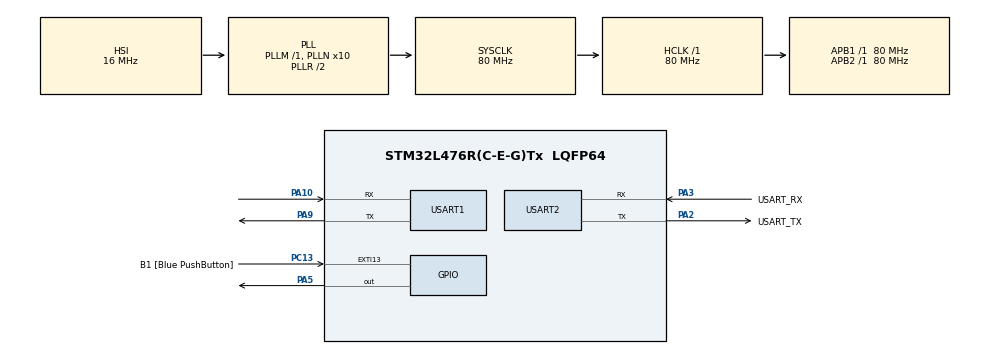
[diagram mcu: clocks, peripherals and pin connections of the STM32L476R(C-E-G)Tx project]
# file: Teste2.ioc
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FREERTOS.Tasks01=defaultTask,0,128,StartDefaultTask,Default,NULL,Dynamic,NULL,NULL
FREERTOS.configUSE_NEWLIB_REENTRANT=1
Mcu.Family=STM32L4
Mcu.Name=STM32L476R(C-E-G)Tx
Mcu.Package=LQFP64
NVIC.PriorityGroup=NVIC_PRIORITYGROUP_4
NVIC.TIM1_UP_TIM16_IRQn=true\:5\:0\:false\:false\:true\:true\:false\:true
NVIC.TIM3_IRQn=true\:5\:0\:false\:false\:true\:true\:true\:true
NVIC.TimeBase=TIM1_UP_TIM16_IRQn
NVIC.TimeBaseIP=TIM1
NVIC.USART1_IRQn=true\:5\:0\:false\:false\:true\:true\:true\:true
NVIC.USART2_IRQn=true\:5\:0\:false\:false\:true\:true\:true\:true
PA10.Mode=Asynchronous
PA10.Signal=USART1_RX
PA13\ (JTMS-SWDIO).GPIO_Label=TMS
PA13\ (JTMS-SWDIO).Mode=Serial_Wire
PA13\ (JTMS-SWDIO).Signal=SYS_JTMS-SWDIO
PA14\ (JTCK-SWCLK).GPIO_Label=TCK
PA14\ (JTCK-SWCLK).Mode=Serial_Wire
PA14\ (JTCK-SWCLK).Signal=SYS_JTCK-SWCLK
PA2.GPIO_Label=USART_TX
PA2.GPIO_Mode=GPIO_MODE_AF_PP
PA2.GPIO_PuPd=GPIO_NOPULL
PA2.GPIO_Speed=GPIO_SPEED_FREQ_VERY_HIGH
PA2.Mode=Asynchronous
PA2.Signal=USART2_TX
PA3.GPIO_Label=USART_RX
PA3.GPIO_Mode=GPIO_MODE_AF_PP
PA3.GPIO_PuPd=GPIO_NOPULL
PA3.GPIO_Speed=GPIO_SPEED_FREQ_VERY_HIGH
PA3.Mode=Asynchronous
PA3.Signal=USART2_RX
PA5.Signal=GPIO_Output
PA9.Mode=Asynchronous
PA9.Signal=USART1_TX
PB3\ (JTDO-TRACESWO).GPIO_Label=SWO
PB3\ (JTDO-TRACESWO).Signal=SYS_JTDO-SWO
PC13.GPIO_Label=B1 [Blue PushButton]
PC13.GPIO_ModeDefaultEXTI=GPIO_MODE_IT_FALLING
PC13.GPIO_PuPd=GPIO_NOPULL
PC13.Signal=GPXTI13
PC14-OSC32_IN\ (PC14).Mode=LSE-External-Oscillator
PC14-OSC32_IN\ (PC14).Signal=RCC_OSC32_IN
PC15-OSC32_OUT\ (PC15).Mode=LSE-External-Oscillator
PC15-OSC32_OUT\ (PC15).Signal=RCC_OSC32_OUT
PH0-OSC_IN\ (PH0).Signal=RCC_OSC_IN
PH1-OSC_OUT\ (PH1).Signal=RCC_OSC_OUT
ProjectManager.HeapSize=0x200
ProjectManager.StackSize=0x400
ProjectManager.TargetToolchain=STM32CubeIDE
RCC.ADCFreq_Value=64000000
RCC.AHBFreq_Value=80000000
RCC.APB1Freq_Value=80000000
RCC.APB1TimFreq_Value=80000000
RCC.APB2Freq_Value=80000000
RCC.APB2TimFreq_Value=80000000
RCC.CortexFreq_Value=80000000
RCC.HCLKFreq_Value=80000000
RCC.HSE_VALUE=8000000
RCC.HSI_VALUE=16000000
RCC.MSI_VALUE=4000000
RCC.PLLN=10
RCC.PLLSourceVirtual=RCC_PLLSOURCE_HSI
RCC.PREFETCH_ENABLE=1
RCC.SYSCLKFreq_VALUE=80000000
RCC.SYSCLKSource=RCC_SYSCLKSOURCE_PLLCLK
RCC.USBFreq_Value=64000000
RCC.VCOOutputFreq_Value=160000000
TIM3.Period=10000-1
TIM3.Prescaler=400-1
USART1.VirtualMode-Asynchronous=VM_ASYNC
USART2.VirtualMode-Asynchronous=VM_ASYNC
VP_FREERTOS_VS_CMSIS_V1.Mode=CMSIS_V1
VP_SYS_VS_tim1.Mode=TIM1
VP_TIM3_VS_ClockSourceINT.Mode=Internal
board=NUCLEO-L476RG

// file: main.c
/* USER CODE BEGIN Header */
/**
  ******************************************************************************
  * @file           : main.c
  * @brief          : Main program body
  ******************************************************************************
  * @attention
  *
  * <h2><center>&copy; Copyright (c) 2021 STMicroelectronics.
  * All rights reserved.</center></h2>
  *
  * This software component is licensed by ST under BSD 3-Clause license,
  * the "License"; You may not use this file except in compliance with the
  * License. You may obtain a copy of the License at:
  *                        opensource.org/licenses/BSD-3-Clause
  *
  ******************************************************************************
  */
/* USER CODE END Header */
#include "main.h"
#include "cmsis_os.h"

TIM_HandleTypeDef htim3;

osThreadId defaultTaskHandle;

void SystemClock_Config(void);
static void MX_GPIO_Init(void);
static void MX_USART2_UART_Init(void);
static void MX_USART1_UART_Init(void);
static void MX_TIM3_Init(void);
void StartDefaultTask(void const * argument);

/* USER CODE BEGIN 0 */
//Tamanho das filas de transmissao e recepcao
//A fila de transmissao é maior do que a de recepcao por que a rotina de transmissao (write_string)
//pode enfileirar um numero maior de bytes de forma muito rapida
#define TX_QUEUE_SIZE 128
#define RX_QUEUE_SIZE 5
#define USART_1 1
#define USART_2 2

//Variaveis que irao armazenar os hanldes das filas de tranmissao e recepcao
QueueHandle_t tx_queue_1;
QueueHandle_t rx_queue_1;
QueueHandle_t tx_queue_2;
QueueHandle_t rx_queue_2;
SemaphoreHandle_t uart_1_mutex = NULL;
SemaphoreHandle_t uart_2_mutex = NULL;
int people = 0;
int contador = 0;

void sendchar(char c, char usart){
	if(usart == USART_1){
		xQueueSend(tx_queue_1, &c, HAL_MAX_DELAY);
		LL_USART_EnableIT_TXE(USART1);
	}
	else if( usart == USART_2){
		xQueueSend(tx_queue_2, &c, HAL_MAX_DELAY);
		LL_USART_EnableIT_TXE(USART2);
	}
}

void sendString(char * str, char usart){
	while(*str != 0){
		sendchar(*str, usart);
		str++;
	}
}

char readchar(char usart){
	uint8_t caracter=0;
	if(usart == USART_1)
		xQueueReceive(rx_queue_1, &caracter, HAL_MAX_DELAY);
	else if(usart == USART_2)
		xQueueReceive(rx_queue_2, &caracter, HAL_MAX_DELAY);
	return caracter;
}

void cli(void * vParam)
{
	uint8_t caracter;
	while(1)
	{
		caracter = readchar(USART_2);
		if(caracter == 'd' || string == 'D'){
			sendString("Luz Desligada\r\n", USART_1);
		}
		if(caracter == 'L' || string == 'L'){
					sendString("Luz Ligada\r\n", USART_1);
				}
		if(caracter == 'f' || string == 'F'){
					sendString("Acesso Negado\r\n", USART_1);
				}
		if(caracter == 't' || string == 'T'){
							sendString("Acesso Liberado\r\n", USART_1);
		}
	}
}

//IMPORTANTE: Esta taska deve ser removida no projeto final
void usart_1_fcn(void * vParam){
	char c;
	while(1){
		c = readchar(USART_1);
		if( c != 0){
			sendchar(c, USART_2);
		}
	}
}
//Rotina de tratamento de interrupcao da USART2
void USART_2_IRQHandler(void)
{
	//Se for interrupcao de transmissao
    if (LL_USART_IsActiveFlag_TXE(USART2)) {
        BaseType_t contextSwitch;

        while (LL_USART_IsActiveFlag_TXE(USART2)) {
            uint8_t byte;
            //Desinfileira um byte para tranmistir
            if (xQueueReceiveFromISR(tx_queue_2, &byte, &contextSwitch) == pdFAIL) {
            	//Se a fila de transmissao esta vazia, encerra a transmissao
                LL_USART_DisableIT_TXE(USART2);
                break;
            }
            //Envia o byte retirado da fila de transmisao
            LL_USART_TransmitData8(USART2, byte);
        }
        portYIELD_FROM_ISR(contextSwitch);
    }

    //Se for interrupcao de recepcao
    if (LL_USART_IsActiveFlag_RXNE(USART2)) {
        BaseType_t contextSwitch;

        while (LL_USART_IsActiveFlag_RXNE(USART2)) {
        	//Copia o byte do regstrador de recepcao
        	uint8_t byte =
                LL_USART_ReceiveData8(USART2);
        	//Enfileira o byte recebido na fila de recepcao
            xQueueSendFromISR(rx_queue_2, &byte, &contextSwitch);
            // xQueueSendFromISR can return errQUEUE_FULL
        }
        portYIELD_FROM_ISR(contextSwitch);
    }
}

void USART_1_IRQHandler(void)
{
	//Se for interrupcao de transmissao
    if (LL_USART_IsActiveFlag_TXE(USART1)) {
        BaseType_t contextSwitch;

        while (LL_USART_IsActiveFlag_TXE(USART1)) {
            uint8_t byte;
            //Desinfileira um byte para tranmistir
            if (xQueueReceiveFromISR(tx_queue_1, &byte, &contextSwitch) == pdFAIL) {
            	//Se a fila de transmissao esta vazia, encerra a transmissao
                LL_USART_DisableIT_TXE(USART1);
                break;
            }
            //Envia o byte retirado da fila de transmisao
            LL_USART_TransmitData8(USART1, byte);
        }
        portYIELD_FROM_ISR(contextSwitch);
    }

    //Se for interrupcao de recepcao
    if (LL_USART_IsActiveFlag_RXNE(USART1)) {
        BaseType_t contextSwitch;

        while (LL_USART_IsActiveFlag_RXNE(USART1)) {
        	//Copia o byte do regstrador de recepcao
        	uint8_t byte =
                LL_USART_ReceiveData8(USART1);
        	//Enfileira o byte recebido na fila de recepcao
            xQueueSendFromISR(rx_queue_1, &byte, &contextSwitch);
            // xQueueSendFromISR can return errQUEUE_FULL
        }
        portYIELD_FROM_ISR(contextSwitch);
    }
}
/* USER CODE END 0 */

int main(void)
{

  /* MCU Configuration--------------------------------------------------------*/

  /* Reset of all peripherals, Initializes the Flash interface and the Systick. */
  HAL_Init();

  /* Configure the system clock */
  SystemClock_Config();

  /* Initialize all configured peripherals */
  MX_GPIO_Init();
  MX_USART2_UART_Init();
  MX_USART1_UART_Init();
  MX_TIM3_Init();
  /* USER CODE BEGIN 2 */
  uart_1_mutex = xSemaphoreCreateMutex();
  uart_2_mutex = xSemaphoreCreateMutex();
  /* USER CODE END 2 */

  /* Create the thread(s) */
  /* definition and creation of defaultTask */
  osThreadDef(defaultTask, StartDefaultTask, osPriorityNormal, 0, 128);
  defaultTaskHandle = osThreadCreate(osThread(defaultTask), NULL);

  /* USER CODE BEGIN RTOS_THREADS */
  xTaskCreate(cli,    /* Nome da funcao que contem a task */
  		  	  "cli",     /* Nome descritivo */
			  configMINIMAL_STACK_SIZE,   /* tamanho da pilha da task */
			  NULL,       /* parametro para a task */
			  1,          /* nivel de prioridade */
			  NULL);      /* ponteiro para o handle da task */

  //IMPORTANTE: Esta taska deve ser removida no projeto final
  xTaskCreate(usart_1_fcn,    /* Nome da funcao que contem a task */
  		  	  "usart1fcn",     /* Nome descritivo */
			  configMINIMAL_STACK_SIZE,   /* tamanho da pilha da task */
			  NULL,       /* parametro para a task */
			  1,          /* nivel de prioridade */
			  NULL);      /* ponteiro para o handle da task */
  /* USER CODE END RTOS_THREADS */

  /* Start scheduler */
  osKernelStart();

  /* We should never get here as control is now taken by the scheduler */
  /* Infinite loop */
  while (1)
  {

  }
}

void SystemClock_Config(void)
{
  RCC_OscInitTypeDef RCC_OscInitStruct = {0};
  RCC_ClkInitTypeDef RCC_ClkInitStruct = {0};

  /** Configure the main internal regulator output voltage
  */
  if (HAL_PWREx_ControlVoltageScaling(PWR_REGULATOR_VOLTAGE_SCALE1) != HAL_OK)
  {
    Error_Handler();
  }
  /** Initializes the RCC Oscillators according to the specified parameters
  * in the RCC_OscInitTypeDef structure.
  */
  RCC_OscInitStruct.OscillatorType = RCC_OSCILLATORTYPE_HSI;
  RCC_OscInitStruct.HSIState = RCC_HSI_ON;
  RCC_OscInitStruct.HSICalibrationValue = RCC_HSICALIBRATION_DEFAULT;
  RCC_OscInitStruct.PLL.PLLState = RCC_PLL_ON;
  RCC_OscInitStruct.PLL.PLLSource = RCC_PLLSOURCE_HSI;
  RCC_OscInitStruct.PLL.PLLM = 1;
  RCC_OscInitStruct.PLL.PLLN = 10;
  RCC_OscInitStruct.PLL.PLLP = RCC_PLLP_DIV7;
  RCC_OscInitStruct.PLL.PLLQ = RCC_PLLQ_DIV2;
  RCC_OscInitStruct.PLL.PLLR = RCC_PLLR_DIV2;
  if (HAL_RCC_OscConfig(&RCC_OscInitStruct) != HAL_OK)
  {
    Error_Handler();
  }
  /** Initializes the CPU, AHB and APB buses clocks
  */
  RCC_ClkInitStruct.ClockType = RCC_CLOCKTYPE_HCLK|RCC_CLOCKTYPE_SYSCLK
                              |RCC_CLOCKTYPE_PCLK1|RCC_CLOCKTYPE_PCLK2;
  RCC_ClkInitStruct.SYSCLKSource = RCC_SYSCLKSOURCE_PLLCLK;
  RCC_ClkInitStruct.AHBCLKDivider = RCC_SYSCLK_DIV1;
  RCC_ClkInitStruct.APB1CLKDivider = RCC_HCLK_DIV1;
  RCC_ClkInitStruct.APB2CLKDivider = RCC_HCLK_DIV1;

  if (HAL_RCC_ClockConfig(&RCC_ClkInitStruct, FLASH_LATENCY_4) != HAL_OK)
  {
    Error_Handler();
  }
}

static void MX_TIM3_Init(void)
{

  TIM_ClockConfigTypeDef sClockSourceConfig = {0};
  TIM_MasterConfigTypeDef sMasterConfig = {0};

  htim3.Instance = TIM3;
  htim3.Init.Prescaler = 400-1;
  htim3.Init.CounterMode = TIM_COUNTERMODE_UP;
  htim3.Init.Period = 10000-1;
  htim3.Init.ClockDivision = TIM_CLOCKDIVISION_DIV1;
  htim3.Init.AutoReloadPreload = TIM_AUTORELOAD_PRELOAD_DISABLE;
  if (HAL_TIM_Base_Init(&htim3) != HAL_OK)
  {
    Error_Handler();
  }
  sClockSourceConfig.ClockSource = TIM_CLOCKSOURCE_INTERNAL;
  if (HAL_TIM_ConfigClockSource(&htim3, &sClockSourceConfig) != HAL_OK)
  {
    Error_Handler();
  }
  sMasterConfig.MasterOutputTrigger = TIM_TRGO_RESET;
  sMasterConfig.MasterSlaveMode = TIM_MASTERSLAVEMODE_DISABLE;
  if (HAL_TIMEx_MasterConfigSynchronization(&htim3, &sMasterConfig) != HAL_OK)
  {
    Error_Handler();
  }

}

static void MX_USART1_UART_Init(void)
{

  LL_USART_InitTypeDef USART_InitStruct = {0};

  LL_GPIO_InitTypeDef GPIO_InitStruct = {0};
  RCC_PeriphCLKInitTypeDef PeriphClkInit = {0};

  /** Initializes the peripherals clock
  */
  PeriphClkInit.PeriphClockSelection = RCC_PERIPHCLK_USART1;
  PeriphClkInit.Usart1ClockSelection = RCC_USART1CLKSOURCE_PCLK2;
  if (HAL_RCCEx_PeriphCLKConfig(&PeriphClkInit) != HAL_OK)
  {
    Error_Handler();
  }

  /* Peripheral clock enable */
  LL_APB2_GRP1_EnableClock(LL_APB2_GRP1_PERIPH_USART1);

  LL_AHB2_GRP1_EnableClock(LL_AHB2_GRP1_PERIPH_GPIOA);
  /**USART1 GPIO Configuration
  PA9   ------> USART1_TX
  PA10   ------> USART1_RX
  */
  GPIO_InitStruct.Pin = LL_GPIO_PIN_9|LL_GPIO_PIN_10;
  GPIO_InitStruct.Mode = LL_GPIO_MODE_ALTERNATE;
  GPIO_InitStruct.Speed = LL_GPIO_SPEED_FREQ_VERY_HIGH;
  GPIO_InitStruct.OutputType = LL_GPIO_OUTPUT_PUSHPULL;
  GPIO_InitStruct.Pull = LL_GPIO_PULL_NO;
  GPIO_InitStruct.Alternate = LL_GPIO_AF_7;
  LL_GPIO_Init(GPIOA, &GPIO_InitStruct);

  /* USART1 interrupt Init */
  NVIC_SetPriority(USART1_IRQn, NVIC_EncodePriority(NVIC_GetPriorityGrouping(),5, 0));
  NVIC_EnableIRQ(USART1_IRQn);

  USART_InitStruct.BaudRate = 115200;
  USART_InitStruct.DataWidth = LL_USART_DATAWIDTH_8B;
  USART_InitStruct.StopBits = LL_USART_STOPBITS_1;
  USART_InitStruct.Parity = LL_USART_PARITY_NONE;
  USART_InitStruct.TransferDirection = LL_USART_DIRECTION_TX_RX;
  USART_InitStruct.HardwareFlowControl = LL_USART_HWCONTROL_NONE;
  USART_InitStruct.OverSampling = LL_USART_OVERSAMPLING_16;
  LL_USART_Init(USART1, &USART_InitStruct);
  LL_USART_ConfigAsyncMode(USART1);
  LL_USART_Enable(USART1);
  /* USER CODE BEGIN USART1_Init 2 */
  //Inicializa as filas de transmissao e recepcao
   tx_queue_1 = xQueueCreate(TX_QUEUE_SIZE, sizeof(uint8_t));
   rx_queue_1 = xQueueCreate(RX_QUEUE_SIZE, sizeof(uint8_t));
   //Habilita a interrupcao de recepcao pela USART2
   LL_USART_EnableIT_RXNE(USART1);
  /* USER CODE END USART1_Init 2 */

}

static void MX_USART2_UART_Init(void)
{

  LL_USART_InitTypeDef USART_InitStruct = {0};

  LL_GPIO_InitTypeDef GPIO_InitStruct = {0};
  RCC_PeriphCLKInitTypeDef PeriphClkInit = {0};

  /** Initializes the peripherals clock
  */
  PeriphClkInit.PeriphClockSelection = RCC_PERIPHCLK_USART2;
  PeriphClkInit.Usart2ClockSelection = RCC_USART2CLKSOURCE_PCLK1;
  if (HAL_RCCEx_PeriphCLKConfig(&PeriphClkInit) != HAL_OK)
  {
    Error_Handler();
  }

  /* Peripheral clock enable */
  LL_APB1_GRP1_EnableClock(LL_APB1_GRP1_PERIPH_USART2);

  LL_AHB2_GRP1_EnableClock(LL_AHB2_GRP1_PERIPH_GPIOA);
  /**USART2 GPIO Configuration
  PA2   ------> USART2_TX
  PA3   ------> USART2_RX
  */
  GPIO_InitStruct.Pin = LL_GPIO_PIN_2|LL_GPIO_PIN_3;
  GPIO_InitStruct.Mode = LL_GPIO_MODE_ALTERNATE;
  GPIO_InitStruct.Speed = LL_GPIO_SPEED_FREQ_VERY_HIGH;
  GPIO_InitStruct.OutputType = LL_GPIO_OUTPUT_PUSHPULL;
  GPIO_InitStruct.Pull = LL_GPIO_PULL_NO;
  GPIO_InitStruct.Alternate = LL_GPIO_AF_7;
  LL_GPIO_Init(GPIOA, &GPIO_InitStruct);

  /* USART2 interrupt Init */
  NVIC_SetPriority(USART2_IRQn, NVIC_EncodePriority(NVIC_GetPriorityGrouping(),5, 0));
  NVIC_EnableIRQ(USART2_IRQn);

  USART_InitStruct.BaudRate = 115200;
  USART_InitStruct.DataWidth = LL_USART_DATAWIDTH_8B;
  USART_InitStruct.StopBits = LL_USART_STOPBITS_1;
  USART_InitStruct.Parity = LL_USART_PARITY_NONE;
  USART_InitStruct.TransferDirection = LL_USART_DIRECTION_TX_RX;
  USART_InitStruct.HardwareFlowControl = LL_USART_HWCONTROL_NONE;
  USART_InitStruct.OverSampling = LL_USART_OVERSAMPLING_16;
  LL_USART_Init(USART2, &USART_InitStruct);
  LL_USART_ConfigAsyncMode(USART2);
  LL_USART_Enable(USART2);
  /* USER CODE BEGIN USART2_Init 2 */
  //Inicializa as filas de transmissao e recepcao
   tx_queue_2 = xQueueCreate(TX_QUEUE_SIZE, sizeof(uint8_t));
   rx_queue_2 = xQueueCreate(RX_QUEUE_SIZE, sizeof(uint8_t));
   //Habilita a interrupcao de recepcao pela USART2
   LL_USART_EnableIT_RXNE(USART2);
  /* USER CODE END USART2_Init 2 */

}

static void MX_GPIO_Init(void)
{
  GPIO_InitTypeDef GPIO_InitStruct = {0};

  /* GPIO Ports Clock Enable */
  __HAL_RCC_GPIOC_CLK_ENABLE();
  __HAL_RCC_GPIOH_CLK_ENABLE();
  __HAL_RCC_GPIOA_CLK_ENABLE();
  __HAL_RCC_GPIOB_CLK_ENABLE();

  /*Configure GPIO pin Output Level */
  HAL_GPIO_WritePin(GPIOA, GPIO_PIN_5, GPIO_PIN_RESET);

  /*Configure GPIO pin : B1_Pin */
  GPIO_InitStruct.Pin = B1_Pin;
  GPIO_InitStruct.Mode = GPIO_MODE_IT_FALLING;
  GPIO_InitStruct.Pull = GPIO_NOPULL;
  HAL_GPIO_Init(B1_GPIO_Port, &GPIO_InitStruct);

  /*Configure GPIO pin : PA5 */
  GPIO_InitStruct.Pin = GPIO_PIN_5;
  GPIO_InitStruct.Mode = GPIO_MODE_OUTPUT_PP;
  GPIO_InitStruct.Pull = GPIO_NOPULL;
  GPIO_InitStruct.Speed = GPIO_SPEED_FREQ_LOW;
  HAL_GPIO_Init(GPIOA, &GPIO_InitStruct);

}

void StartDefaultTask(void const * argument)
{
  for(;;)
  {
    osDelay(1);
  }
}

void HAL_TIM_PeriodElapsedCallback(TIM_HandleTypeDef *htim)
{
  if (htim->Instance == TIM1) {
    HAL_IncTick();
  }
  /* USER CODE BEGIN Callback 1 */
  if (htim->Instance == htim3.Instance){
  	  	  people -= 5 * contador;
          }
  /* USER CODE END Callback 1 */
}

void Error_Handler(void)
{
  __disable_irq();
  while (1)
  {
  }
}

/************************ (C) COPYRIGHT STMicroelectronics *****END OF FILE****/
